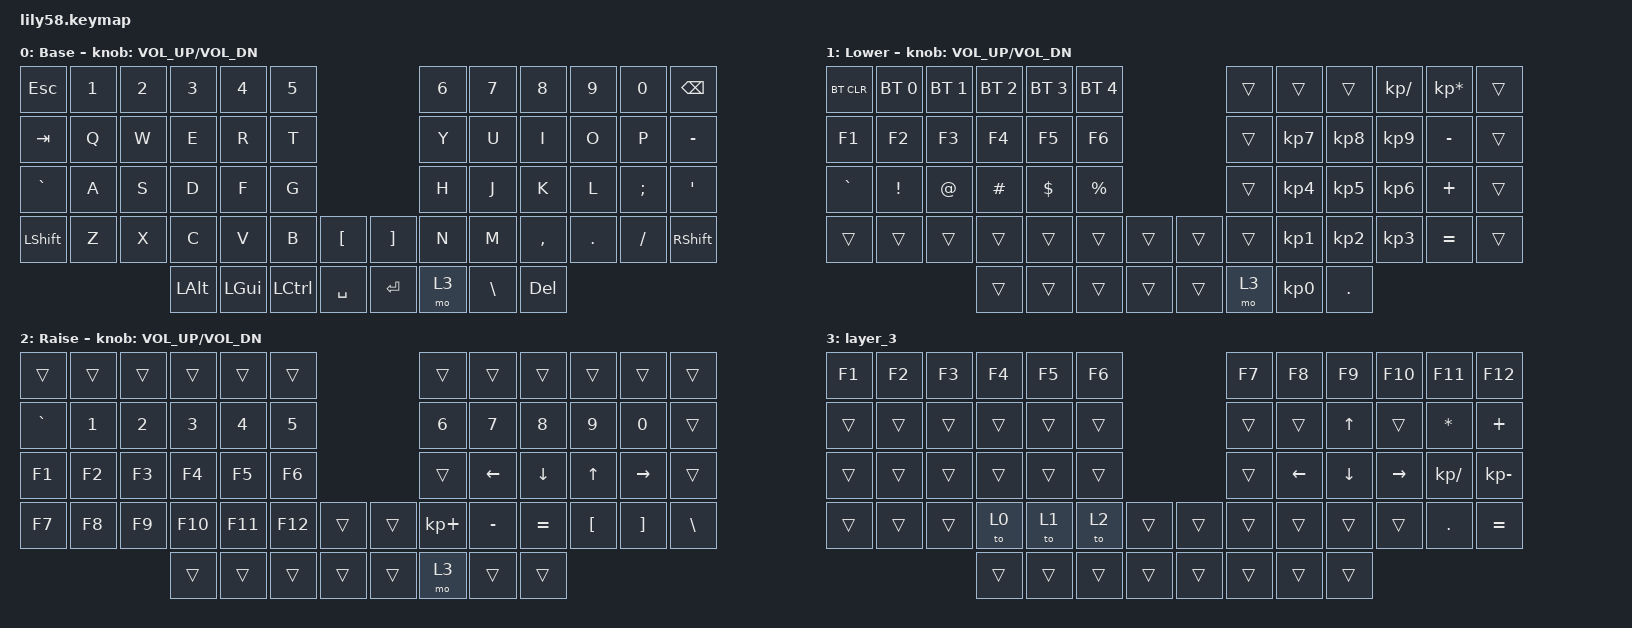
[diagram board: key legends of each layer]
/*
 * Copyright (c) 2020 The ZMK Contributors
 *
 * SPDX-License-Identifier: MIT
 */

#include <behaviors.dtsi>
#include <dt-bindings/zmk/bt.h>
#include <dt-bindings/zmk/keys.h>

/ {
    keymap {
        compatible = "zmk,keymap";

        default_layer {
            // ------------------------------------------------------------------------------------------------------------
            // |  ESC  |  1  |  2  |  3   |  4   |  5   |                   |  6   |  7    |  8    |  9   |   0   |   `   |
            // |  TAB  |  Q  |  W  |  E   |  R   |  T   |                   |  Y   |  U    |  I    |  O   |   P   |   -   |
            // |  CTRL |  A  |  S  |  D   |  F   |  G   |                   |  H   |  J    |  K    |  L   |   ;   |   '   |
            // | SHIFT |  Z  |  X  |  C   |  V   |  B   |   "["  |  |  "]"  |  N   |  M    |  ,    |  .   |   /   | SHIFT |
            //                     | ALT  | GUI  | LOWER|  SPACE |  | ENTER | RAISE| BSPC  | GUI   |

            display-name = "Base";
            bindings = <
&kp ESC    &kp N1  &kp N2  &kp N3    &kp N4    &kp N5                                   &kp N6  &kp N7         &kp N8     &kp N9   &kp N0    &kp BACKSPACE
&kp TAB    &kp Q   &kp W   &kp E     &kp R     &kp T                                    &kp Y   &kp U          &kp I      &kp O    &kp P     &kp MINUS
&kp GRAVE  &kp A   &kp S   &kp D     &kp F     &kp G                                    &kp H   &kp J          &kp K      &kp L    &kp SEMI  &kp SQT
&kp LSHFT  &kp Z   &kp X   &kp C     &kp V     &kp B             &kp LBKT     &kp RBKT  &kp N   &kp M          &kp COMMA  &kp DOT  &kp FSLH  &kp RSHFT
                           &kp LALT  &kp LGUI  &kp LEFT_CONTROL  &kp SPACE    &kp RET   &mo 3   &kp BACKSLASH  &kp DEL
            >;

            sensor-bindings = <&inc_dec_kp C_VOL_UP C_VOL_DN>;
        };

        lower_layer {
            // ------------------------------------------------------------------------------------------------------------
            // | BTCLR | BT1 | BT2 |  BT3 |  BT4 |  BT5 |                   |      |       |       |      |       |       |
            // |  F1   |  F2 |  F3 |  F4  |  F5  |  F6  |                   |  F7  |  F8   |  F9   |  F10 |  F11  |  F12  |
            // |   `   |  !  |  @  |  #   |  $   |  %   |                   |  ^   |  &    |  *    |  (   |   )   |   ~   |
            // |       |     |     |      |      |      |        |  |       |      |  _    |  +    |  {   |   }   |  "|"  |
            //                     |      |      |      |        |  |       |      |       |       |

            display-name = "Lower";
            bindings = <
&bt BT_CLR  &bt BT_SEL 0  &bt BT_SEL 1  &bt BT_SEL 2  &bt BT_SEL 3  &bt BT_SEL 4                    &trans  &trans           &trans           &kp KP_DIVIDE    &kp KP_MULTIPLY  &trans
&kp F1      &kp F2        &kp F3        &kp F4        &kp F5        &kp F6                          &trans  &kp KP_NUMBER_7  &kp KP_NUMBER_8  &kp KP_NUMBER_9  &kp MINUS        &trans
&kp GRAVE   &kp EXCL      &kp AT        &kp HASH      &kp DOLLAR    &kp PRCNT                       &trans  &kp KP_NUMBER_4  &kp KP_NUMBER_5  &kp KP_NUMBER_6  &kp PLUS         &trans
&trans      &trans        &trans        &trans        &trans        &trans        &trans    &trans  &trans  &kp KP_NUMBER_1  &kp KP_NUMBER_2  &kp KP_NUMBER_3  &kp EQUAL        &trans
                                        &trans        &trans        &trans        &trans    &trans  &mo 3   &kp KP_NUMBER_0  &kp PERIOD
            >;

            sensor-bindings = <&inc_dec_kp C_VOL_UP C_VOL_DN>;
        };

        raise_layer {
            // ------------------------------------------------------------------------------------------------------------
            // |       |     |     |      |      |      |                   |      |       |       |      |       |       |
            // |   `   |  1  |  2  |  3   |  4   |  5   |                   |  6   |   7   |   8   |  9   |   0   |       |
            // |   F1  |  F2 |  F3 |  F4  |  F5  |  F6  |                   |      |   <-  |   v   |  ^   |  ->   |       |
            // |   F7  |  F8 |  F9 |  F10 |  F11 |  F12 |        |  |       |  +   |   -   |   =   |  [   |   ]   |   \   |
            //                     |      |      |      |        |  |       |      |       |       |

            display-name = "Raise";
            bindings = <
&trans     &trans  &trans  &trans   &trans   &trans                     &trans       &trans     &trans     &trans    &trans     &trans
&kp GRAVE  &kp N1  &kp N2  &kp N3   &kp N4   &kp N5                     &kp N6       &kp N7     &kp N8     &kp N9    &kp N0     &trans
&kp F1     &kp F2  &kp F3  &kp F4   &kp F5   &kp F6                     &trans       &kp LEFT   &kp DOWN   &kp UP    &kp RIGHT  &trans
&kp F7     &kp F8  &kp F9  &kp F10  &kp F11  &kp F12  &trans    &trans  &kp KP_PLUS  &kp MINUS  &kp EQUAL  &kp LBKT  &kp RBKT   &kp BSLH
                           &trans   &trans   &trans   &trans    &trans  &mo 3        &trans     &trans
            >;

            sensor-bindings = <&inc_dec_kp C_VOL_UP C_VOL_DN>;
        };

        layer_3 {
            bindings = <
&kp F1  &kp F2  &kp F3  &kp F4  &kp F5  &kp F6                    &kp F7  &kp F8          &kp F9    &kp F10    &kp F11        &kp F12
&trans  &trans  &trans  &trans  &trans  &trans                    &trans  &trans          &kp UP    &trans     &kp ASTERISK   &kp PLUS
&trans  &trans  &trans  &trans  &trans  &trans                    &trans  &kp LEFT_ARROW  &kp DOWN  &kp RIGHT  &kp KP_DIVIDE  &kp KP_SUBTRACT
&trans  &trans  &trans  &to 0   &to 1   &to 2   &trans    &trans  &trans  &trans          &trans    &trans     &kp PERIOD     &kp EQUAL
                        &trans  &trans  &trans  &trans    &trans  &trans  &trans          &trans
            >;
        };
    };
};
